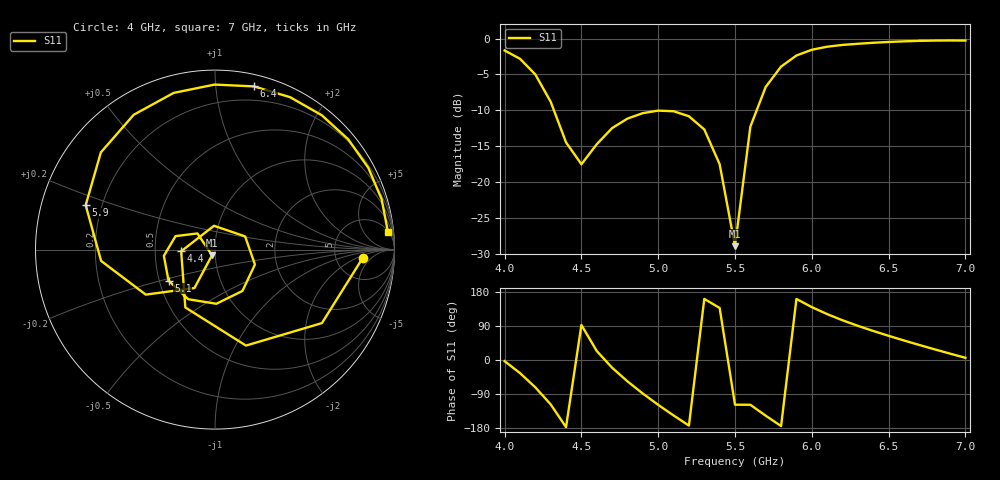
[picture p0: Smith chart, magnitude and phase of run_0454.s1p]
! Touchstone file exported from HFSS 2024.2.0
!  File:  C:/Users/wsak9/Desktop/Sim Fast/Widenad Patch/WP_AI_V1_sweep.aedt
!  Generated:  10:46:02 AM Oct 14, 2026
!  Design:  A1_model
!  Project:  WP_AI_V1_sweep
!  Setup:  Setup1
!  Solution:  Sweep
! Variables:
!  Air_gap = 2.19mm
!  Curve_Amp1 = 1.07
!  Curve_len1 = 1
!  Curve_pos = 12.165mm
!  Extra = 7.29mm
!  H_sub = 0.79mm
!  L_Patch = 20.33mm
!  L_Patch1 = 19.38mm
!  Sx = 0.76mm
!  Sy = 2.7mm
!  WS = 0.77mm
!  W_Patch = 12.69mm
!  W_Patch1 = 12.09mm
!Data is not renormalized
# GHz S MA
! Terminal data exported
! Port[1] = 1
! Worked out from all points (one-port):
!   31 points, 4 GHz to 7 GHz, reference per port
!   lowest |S11| = -29.0 dB at 5.5 GHz (marker M1), VSWR 1.07
!   |S11| at or under -10 dB: 4.321 GHz to 5.641 GHz (1.32 GHz wide, 26.5 % of centre)
!   S11 on the Smith chart (normalised r, x): 4 GHz: 10, -3; 4.4 GHz: 0.68, -0.01; 5.1 GHz: 0.56, -0.21; 5.9 GHz: 0.14, +0.16; 6.4 GHz: 0.09, +1.26; 7 GHz: 6, +18
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4  0.8256 -3.1
4.1  0.7229 -34.5
4.2  0.5619 -72.1
4.3  0.3623 -117.1
4.4  0.1887 -177.2
4.5  0.1328 92.4
4.6  0.1832 23.7
4.7  0.2374 -20.4
4.8  0.2765 -56.4
4.9  0.3019 -88.6
5  0.3142 -118.4
5.1  0.3112 -146.3
5.2  0.2871 -173.0
5.3  0.2323 161.1
5.4  0.1329 137.4
5.5  0.03563 -117.9
5.6  0.2428 -118.2
5.7  0.4601 -147.0
5.8  0.6375 -174.3
5.9  0.7618 161.0
6  0.8353 139.6
6.1  0.8771 121.1
6.3  0.9194 90.2
6.4  0.9347 76.6
6.5  0.9467 63.8
6.7  0.9635 39.6
6.9  0.97 16.8
7  0.9685 5.8
